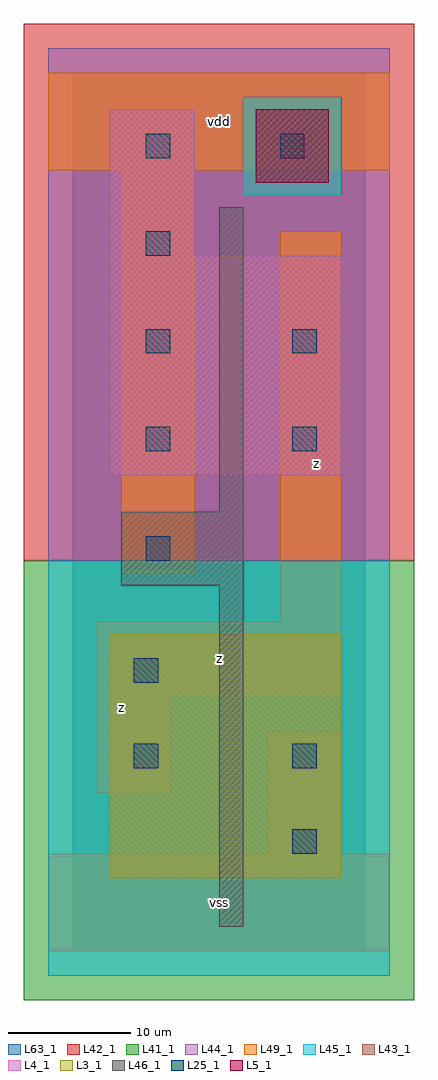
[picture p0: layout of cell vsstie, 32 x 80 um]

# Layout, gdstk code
import gdstk
lib = gdstk.Library(unit=1e-6, precision=1e-09)
def R(c, l, rs):  # rectangles x0, y0, x1, y1
    for r in rs: c.add(gdstk.rectangle(r[:2], r[2:], *l))
def A(c, l, x, y, w, h, nx, ny, dx, dy):  # array of equal rectangles
    R(c, l, [(x+i*dx, y+j*dy, x+i*dx+w, y+j*dy+h) for i in range(nx) for j in range(ny)])
L3_1 = (3, 1)
L4_1 = (4, 1)
L5_1 = (5, 1)
L25_1 = (25, 1)
L41_1 = (41, 1)
L42_1 = (42, 1)
L43_1 = (43, 1)
L44_1 = (44, 1)
L45_1 = (45, 1)
L46_1 = (46, 1)
L49_1 = (49, 1)
L63_1 = (63, 1)

vsstie = lib.new_cell('vsstie')
R(vsstie, L3_1, [(3,6,22,26)])
R(vsstie, L4_1, [(3,39,22,57), (3,57,10,69)])
R(vsstie, L5_1, [(15,63,21,69)])
A(vsstie, L25_1, 6, 41, 2, 2, 1, 4, 0, 8)
R(vsstie, L25_1, [(18,8,20,10), (5,15,7,17), (18,15,20,17), (5,22,7,24), (6,32,8,34), (18,41,20,43), (18,49,20,51), (17,65,19,67)])
R(vsstie, L41_1, [(-4,-4,28,32)])
R(vsstie, L42_1, [(-4,32,28,76)])
R(vsstie, L43_1, [(3,6,22,26), (3,39,22,57), (3,57,10,69), (15,63,21,69)])
R(vsstie, L44_1, [(-2,32,26,62), (-2,62,14,70), (22,62,26,70), (-2,70,26,74)])
R(vsstie, L45_1, [(-2,-2,26,32), (14,62,22,70)])
R(vsstie, L46_1, [(12,2,14,30), (4,30,14,36), (12,36,14,61)])
R(vsstie, L49_1, [(-2,0,26,8), (16,8,22,18), (2,13,8,21), (2,21,22,27), (17,27,22,59), (4,31,10,64), (-2,64,26,72)])
R(vsstie, L63_1, [(0,0,24,72)])
vsstie.add(gdstk.Label('z', (4,20), layer=49, texttype=1))
vsstie.add(gdstk.Label('vss', (12,4), layer=49, texttype=1))
vsstie.add(gdstk.Label('z', (12,24), layer=49, texttype=1))
vsstie.add(gdstk.Label('vdd', (12,68), layer=49, texttype=1))
vsstie.add(gdstk.Label('z', (20,40), layer=49, texttype=1))

lib.write_gds('vsstie.gds')
